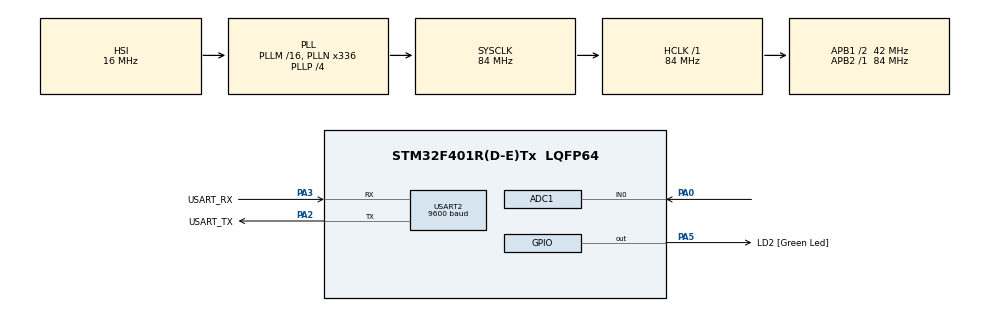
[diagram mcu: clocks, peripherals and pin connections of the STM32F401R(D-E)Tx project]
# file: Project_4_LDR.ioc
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ADC1.Channel-1\#ChannelRegularConversion=ADC_CHANNEL_0
ADC1.ContinuousConvMode=DISABLE
ADC1.DMAContinuousRequests=ENABLE
ADC1.EOCSelection=ADC_EOC_SEQ_CONV
ADC1.ExternalTrigConv=ADC_EXTERNALTRIGCONV_T3_TRGO
ADC1.NbrOfConversionFlag=1
ADC1.Rank-1\#ChannelRegularConversion=1
ADC1.SamplingTime-1\#ChannelRegularConversion=ADC_SAMPLETIME_3CYCLES
ADC1.master=1
Dma.ADC1.1.Direction=DMA_PERIPH_TO_MEMORY
Dma.ADC1.1.FIFOMode=DMA_FIFOMODE_ENABLE
Dma.ADC1.1.FIFOThreshold=DMA_FIFO_THRESHOLD_HALFFULL
Dma.ADC1.1.Instance=DMA2_Stream0
Dma.ADC1.1.MemBurst=DMA_MBURST_SINGLE
Dma.ADC1.1.MemDataAlignment=DMA_MDATAALIGN_WORD
Dma.ADC1.1.MemInc=DMA_MINC_ENABLE
Dma.ADC1.1.Mode=DMA_CIRCULAR
Dma.ADC1.1.PeriphBurst=DMA_PBURST_SINGLE
Dma.ADC1.1.PeriphDataAlignment=DMA_PDATAALIGN_WORD
Dma.ADC1.1.PeriphInc=DMA_PINC_DISABLE
Dma.ADC1.1.Priority=DMA_PRIORITY_MEDIUM
Dma.Request0=TIM3_CH4/UP
Dma.Request1=ADC1
Dma.TIM3_CH4/UP.0.Direction=DMA_PERIPH_TO_MEMORY
Dma.TIM3_CH4/UP.0.FIFOMode=DMA_FIFOMODE_DISABLE
Dma.TIM3_CH4/UP.0.Instance=DMA1_Stream2
Dma.TIM3_CH4/UP.0.MemDataAlignment=DMA_MDATAALIGN_HALFWORD
Dma.TIM3_CH4/UP.0.MemInc=DMA_MINC_ENABLE
Dma.TIM3_CH4/UP.0.Mode=DMA_NORMAL
Dma.TIM3_CH4/UP.0.PeriphDataAlignment=DMA_PDATAALIGN_HALFWORD
Dma.TIM3_CH4/UP.0.PeriphInc=DMA_PINC_DISABLE
Dma.TIM3_CH4/UP.0.Priority=DMA_PRIORITY_LOW
Mcu.Family=STM32F4
Mcu.Name=STM32F401R(D-E)Tx
Mcu.Package=LQFP64
NVIC.ADC_IRQn=true\:5\:0\:true\:false\:true\:true\:true
NVIC.DMA1_Stream2_IRQn=true\:0\:0\:false\:false\:true\:false\:true
NVIC.DMA2_Stream0_IRQn=true\:0\:0\:false\:false\:true\:false\:true
NVIC.PriorityGroup=NVIC_PRIORITYGROUP_4
NVIC.TIM1_UP_TIM10_IRQn=true\:0\:0\:false\:false\:true\:false\:true
NVIC.TIM3_IRQn=true\:1\:0\:true\:false\:true\:true\:true
NVIC.TimeBase=TIM1_UP_TIM10_IRQn
NVIC.TimeBaseIP=TIM1
PA0-WKUP.Signal=ADCx_IN0
PA13.GPIO_Label=TMS
PA13.Mode=Serial_Wire
PA13.Signal=SYS_JTMS-SWDIO
PA14.GPIO_Label=TCK
PA14.Mode=Serial_Wire
PA14.Signal=SYS_JTCK-SWCLK
PA2.GPIO_Label=USART_TX
PA2.GPIO_Mode=GPIO_MODE_AF_PP
PA2.GPIO_PuPd=GPIO_NOPULL
PA2.GPIO_Speed=GPIO_SPEED_FREQ_LOW
PA2.Mode=Asynchronous
PA2.Signal=USART2_TX
PA3.GPIO_Label=USART_RX
PA3.GPIO_Mode=GPIO_MODE_AF_PP
PA3.GPIO_PuPd=GPIO_NOPULL
PA3.GPIO_Speed=GPIO_SPEED_FREQ_LOW
PA3.Mode=Asynchronous
PA3.Signal=USART2_RX
PA5.GPIO_Label=LD2 [Green Led]
PA5.GPIO_Mode=GPIO_MODE_OUTPUT_PP
PA5.GPIO_PuPd=GPIO_NOPULL
PA5.GPIO_Speed=GPIO_SPEED_FREQ_LOW
PA5.Signal=GPIO_Output
PB3.GPIO_Label=SWO
PB3.Signal=SYS_JTDO-SWO
ProjectManager.HeapSize=0x200
ProjectManager.StackSize=0x400
ProjectManager.TargetToolchain=MDK-ARM V5
RCC.48MHZClocksFreq_Value=48000000
RCC.AHBFreq_Value=84000000
RCC.APB1CLKDivider=RCC_HCLK_DIV2
RCC.APB1Freq_Value=42000000
RCC.APB1TimFreq_Value=84000000
RCC.APB2Freq_Value=84000000
RCC.APB2TimFreq_Value=84000000
RCC.CortexFreq_Value=84000000
RCC.HCLKFreq_Value=84000000
RCC.HSE_VALUE=8000000
RCC.HSI_VALUE=16000000
RCC.LSE_VALUE=32768
RCC.PLLN=336
RCC.PLLP=RCC_PLLP_DIV4
RCC.PLLQ=7
RCC.SYSCLKFreq_VALUE=84000000
RCC.SYSCLKSource=RCC_SYSCLKSOURCE_PLLCLK
RCC.VCOOutputFreq_Value=336000000
SH.ADCx_IN0.0=ADC1_IN0,IN0
TIM3.Period=42-1
TIM3.Prescaler=2000-1
TIM3.TIM_MasterOutputTrigger=TIM_TRGO_UPDATE
USART2.BaudRate=9600
USART2.VirtualMode=VM_ASYNC
VP_SYS_VS_tim1.Mode=TIM1
VP_TIM3_VS_ClockSourceINT.Mode=Internal
board=NUCLEO-F401RE

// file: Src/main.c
/* USER CODE BEGIN Header */
/**
  ******************************************************************************
  * @file           : main.c
  * @brief          : Main program body
  ******************************************************************************
  * @attention
  *
  * <h2><center>&copy; Copyright (c) 2019 STMicroelectronics.
  * All rights reserved.</center></h2>
  *
  * This software component is licensed by ST under BSD 3-Clause license,
  * the "License"; You may not use this file except in compliance with the
  * License. You may obtain a copy of the License at:
  *                        opensource.org/licenses/BSD-3-Clause
  *
  ******************************************************************************
  */
/* USER CODE END Header */

#include "main.h"

/* USER CODE BEGIN Includes */
#include "stdio.h"
#include "string.h"
#include "math.h"
/* USER CODE END Includes */

/* USER CODE BEGIN PD */
#define LEN 1000
/* USER CODE END PD */

ADC_HandleTypeDef hadc1;
DMA_HandleTypeDef hdma_adc1;

TIM_HandleTypeDef htim3;
DMA_HandleTypeDef hdma_tim3_ch4_up;

UART_HandleTypeDef huart2;

/* USER CODE BEGIN PV */
uint32_t value[2*LEN];
char newline[2]="\r\n";
char string[10];
double mean;
double voltage;
double resistance;
double lux;
/* USER CODE END PV */

void SystemClock_Config(void);
static void MX_GPIO_Init(void);
static void MX_DMA_Init(void);
static void MX_ADC1_Init(void);
static void MX_TIM3_Init(void);
static void MX_USART2_UART_Init(void);

int main(void)
{

  /* MCU Configuration--------------------------------------------------------*/

  /* Reset of all peripherals, Initializes the Flash interface and the Systick. */
  HAL_Init();

  /* Configure the system clock */
  SystemClock_Config();

  /* Initialize all configured peripherals */
  MX_GPIO_Init();
  MX_DMA_Init();
  MX_ADC1_Init();
  MX_TIM3_Init();
  MX_USART2_UART_Init();
  /* USER CODE BEGIN 2 */
	HAL_TIM_Base_Start(&htim3);
	HAL_ADC_Start_DMA(&hadc1, (uint32_t *) value, 2*LEN);
  /* USER CODE END 2 */

  /* Infinite loop */
  while (1)
  {

  }
}

void SystemClock_Config(void)
{
  RCC_OscInitTypeDef RCC_OscInitStruct = {0};
  RCC_ClkInitTypeDef RCC_ClkInitStruct = {0};

  /** Configure the main internal regulator output voltage
  */
  __HAL_RCC_PWR_CLK_ENABLE();
  __HAL_PWR_VOLTAGESCALING_CONFIG(PWR_REGULATOR_VOLTAGE_SCALE2);
  /** Initializes the CPU, AHB and APB busses clocks
  */
  RCC_OscInitStruct.OscillatorType = RCC_OSCILLATORTYPE_HSI;
  RCC_OscInitStruct.HSIState = RCC_HSI_ON;
  RCC_OscInitStruct.HSICalibrationValue = RCC_HSICALIBRATION_DEFAULT;
  RCC_OscInitStruct.PLL.PLLState = RCC_PLL_ON;
  RCC_OscInitStruct.PLL.PLLSource = RCC_PLLSOURCE_HSI;
  RCC_OscInitStruct.PLL.PLLM = 16;
  RCC_OscInitStruct.PLL.PLLN = 336;
  RCC_OscInitStruct.PLL.PLLP = RCC_PLLP_DIV4;
  RCC_OscInitStruct.PLL.PLLQ = 7;
  if (HAL_RCC_OscConfig(&RCC_OscInitStruct) != HAL_OK)
  {
    Error_Handler();
  }
  /** Initializes the CPU, AHB and APB busses clocks
  */
  RCC_ClkInitStruct.ClockType = RCC_CLOCKTYPE_HCLK|RCC_CLOCKTYPE_SYSCLK
                              |RCC_CLOCKTYPE_PCLK1|RCC_CLOCKTYPE_PCLK2;
  RCC_ClkInitStruct.SYSCLKSource = RCC_SYSCLKSOURCE_PLLCLK;
  RCC_ClkInitStruct.AHBCLKDivider = RCC_SYSCLK_DIV1;
  RCC_ClkInitStruct.APB1CLKDivider = RCC_HCLK_DIV2;
  RCC_ClkInitStruct.APB2CLKDivider = RCC_HCLK_DIV1;

  if (HAL_RCC_ClockConfig(&RCC_ClkInitStruct, FLASH_LATENCY_2) != HAL_OK)
  {
    Error_Handler();
  }
}

static void MX_ADC1_Init(void)
{

  ADC_ChannelConfTypeDef sConfig = {0};

  /** Configure the global features of the ADC (Clock, Resolution, Data Alignment and number of conversion)
  */
  hadc1.Instance = ADC1;
  hadc1.Init.ClockPrescaler = ADC_CLOCK_SYNC_PCLK_DIV4;
  hadc1.Init.Resolution = ADC_RESOLUTION_12B;
  hadc1.Init.ScanConvMode = DISABLE;
  hadc1.Init.ContinuousConvMode = DISABLE;
  hadc1.Init.DiscontinuousConvMode = DISABLE;
  hadc1.Init.ExternalTrigConvEdge = ADC_EXTERNALTRIGCONVEDGE_RISING;
  hadc1.Init.ExternalTrigConv = ADC_EXTERNALTRIGCONV_T3_TRGO;
  hadc1.Init.DataAlign = ADC_DATAALIGN_RIGHT;
  hadc1.Init.NbrOfConversion = 1;
  hadc1.Init.DMAContinuousRequests = ENABLE;
  hadc1.Init.EOCSelection = ADC_EOC_SEQ_CONV;
  if (HAL_ADC_Init(&hadc1) != HAL_OK)
  {
    Error_Handler();
  }
  /** Configure for the selected ADC regular channel its corresponding rank in the sequencer and its sample time.
  */
  sConfig.Channel = ADC_CHANNEL_0;
  sConfig.Rank = 1;
  sConfig.SamplingTime = ADC_SAMPLETIME_3CYCLES;
  if (HAL_ADC_ConfigChannel(&hadc1, &sConfig) != HAL_OK)
  {
    Error_Handler();
  }

}

static void MX_TIM3_Init(void)
{

  TIM_ClockConfigTypeDef sClockSourceConfig = {0};
  TIM_MasterConfigTypeDef sMasterConfig = {0};

  htim3.Instance = TIM3;
  htim3.Init.Prescaler = 2000-1;
  htim3.Init.CounterMode = TIM_COUNTERMODE_UP;
  htim3.Init.Period = 42-1;
  htim3.Init.ClockDivision = TIM_CLOCKDIVISION_DIV1;
  htim3.Init.AutoReloadPreload = TIM_AUTORELOAD_PRELOAD_DISABLE;
  if (HAL_TIM_Base_Init(&htim3) != HAL_OK)
  {
    Error_Handler();
  }
  sClockSourceConfig.ClockSource = TIM_CLOCKSOURCE_INTERNAL;
  if (HAL_TIM_ConfigClockSource(&htim3, &sClockSourceConfig) != HAL_OK)
  {
    Error_Handler();
  }
  sMasterConfig.MasterOutputTrigger = TIM_TRGO_UPDATE;
  sMasterConfig.MasterSlaveMode = TIM_MASTERSLAVEMODE_DISABLE;
  if (HAL_TIMEx_MasterConfigSynchronization(&htim3, &sMasterConfig) != HAL_OK)
  {
    Error_Handler();
  }

}

static void MX_USART2_UART_Init(void)
{

  huart2.Instance = USART2;
  huart2.Init.BaudRate = 9600;
  huart2.Init.WordLength = UART_WORDLENGTH_8B;
  huart2.Init.StopBits = UART_STOPBITS_1;
  huart2.Init.Parity = UART_PARITY_NONE;
  huart2.Init.Mode = UART_MODE_TX_RX;
  huart2.Init.HwFlowCtl = UART_HWCONTROL_NONE;
  huart2.Init.OverSampling = UART_OVERSAMPLING_16;
  if (HAL_UART_Init(&huart2) != HAL_OK)
  {
    Error_Handler();
  }

}

static void MX_DMA_Init(void)
{

  /* DMA controller clock enable */
  __HAL_RCC_DMA1_CLK_ENABLE();
  __HAL_RCC_DMA2_CLK_ENABLE();

  /* DMA interrupt init */
  /* DMA1_Stream2_IRQn interrupt configuration */
  HAL_NVIC_SetPriority(DMA1_Stream2_IRQn, 0, 0);
  HAL_NVIC_EnableIRQ(DMA1_Stream2_IRQn);
  /* DMA2_Stream0_IRQn interrupt configuration */
  HAL_NVIC_SetPriority(DMA2_Stream0_IRQn, 0, 0);
  HAL_NVIC_EnableIRQ(DMA2_Stream0_IRQn);

}

static void MX_GPIO_Init(void)
{
  GPIO_InitTypeDef GPIO_InitStruct = {0};

  /* GPIO Ports Clock Enable */
  __HAL_RCC_GPIOA_CLK_ENABLE();
  __HAL_RCC_GPIOB_CLK_ENABLE();

  /*Configure GPIO pin Output Level */
  HAL_GPIO_WritePin(LD2_GPIO_Port, LD2_Pin, GPIO_PIN_RESET);

  /*Configure GPIO pin : LD2_Pin */
  GPIO_InitStruct.Pin = LD2_Pin;
  GPIO_InitStruct.Mode = GPIO_MODE_OUTPUT_PP;
  GPIO_InitStruct.Pull = GPIO_NOPULL;
  GPIO_InitStruct.Speed = GPIO_SPEED_FREQ_LOW;
  HAL_GPIO_Init(LD2_GPIO_Port, &GPIO_InitStruct);

}

/* USER CODE BEGIN 4 */
void HAL_ADC_ConvHalfCpltCallback (ADC_HandleTypeDef * hadc) // called half-way (at 1000 conversions)
{
	uint32_t sum=0;
	int i=0;
	for(i=0; i<LEN;i++)
		sum+=value[i];
	mean=sum*1.000/LEN;
	voltage=mean*3.3/4095;
	resistance=100*voltage/(3.3-voltage);
	lux=pow(100/resistance,4.00/3);

	sprintf(string, "%04.4lf [lx]", lux);
	HAL_UART_Transmit(&huart2, (uint8_t *) string, strlen(string), 10);
	HAL_UART_Transmit(&huart2, (uint8_t *) newline, strlen(newline),10);
}

void HAL_ADC_ConvCpltCallback(ADC_HandleTypeDef* hadc) // called at the end of 2000 conversions
{
	uint32_t sum = 0;
	int i=0;
	for(i=LEN; i<2*LEN;i++)
		sum += value[i];
	mean = sum*1.000/LEN;
	voltage = mean*3.3/4095;
	resistance = 100*voltage/(3.3-voltage);
	lux = pow(100/resistance,4.00/3);

	sprintf(string, "%04.4lf [lx]", lux);
	HAL_UART_Transmit(&huart2, (uint8_t *) string, strlen(string), 10);
	HAL_UART_Transmit(&huart2, (uint8_t *) newline, strlen(newline),10);
}
/* USER CODE END 4 */

void HAL_TIM_PeriodElapsedCallback(TIM_HandleTypeDef *htim)
{
  if (htim->Instance == TIM1) {
    HAL_IncTick();
  }
}

void Error_Handler(void)
{
}

/************************ (C) COPYRIGHT STMicroelectronics *****END OF FILE****/
